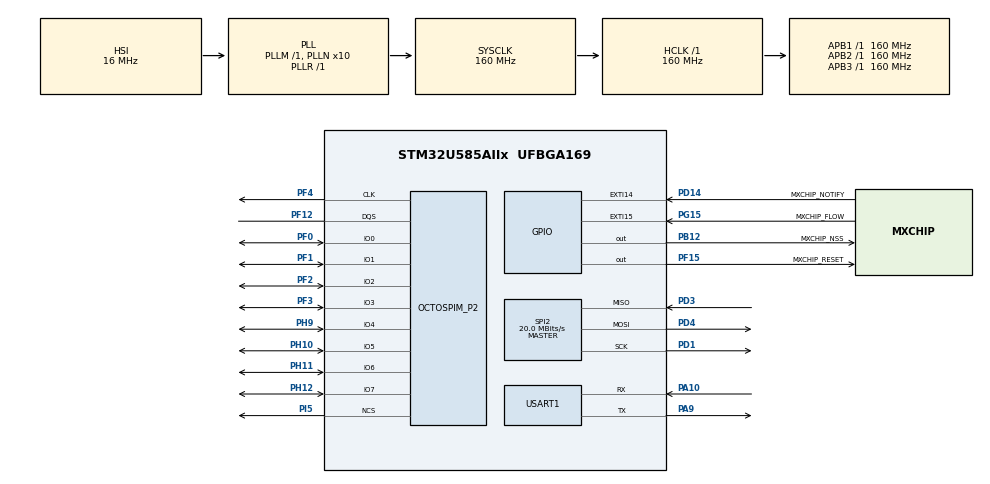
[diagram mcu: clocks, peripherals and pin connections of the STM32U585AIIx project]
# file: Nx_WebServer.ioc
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CORTEX_M33_NS.userName=CORTEX_M33
FILEX.FX_APP_MEM_POOL_SIZE=2*1024 
FILEX.FX_LX_NOR_INTERFACE=1
FILEX.useRTOS=1
GPDMA1.IPHANDLE_GPDMACH0-SIMPLEREQUEST_GPDMACH0=__NULL
GPDMA1.RECAP_GPDMACH0=GPDMA1_REQUEST_OCTOSPI2
GPDMA1.REQUEST_GPDMACH0=GPDMA1_REQUEST_OCTOSPI2
GPDMA1.SRCINC_GPDMACH0=DMA_SINC_INCREMENTED
LEVELX.GLUE_FUNCTIONS=DMA_API
LEVELX.LX_DRIVER_CALLS_OSPI_INIT=1
LEVELX.LX_DRIVER_ERASES_OSPI_AFTER_INIT=0
LEVELX.LX_NOR_Flash_Support=1
LEVELX.LX_OctoSPI_Memory_Interface=1
LEVELX.TRANSFER_NOTIFICATION=ThreadX_Semaphore
LevelX.BSP.number=1
LevelX0.BSP.STBoard=false
LevelX0.BSP.api=BSP_COMPONENT_DRIVER
LevelX0.BSP.component=MX25LM51245G
LevelX0.BSP.i2caddr=0
LevelX0.BSP.instance=MX25LM51245G
LevelX0.BSP.name=OSPI Component
LevelX0.BSP.semaphore=SEMA_MX25LM51245G
LevelX0.BSP.solution=MX25LM51245G
Mcu.Family=STM32U5
Mcu.Name=STM32U585AIIx
Mcu.Package=UFBGA169
NETXDUO.NX_APP_MEM_POOL_SIZE=100*1024
NETXDUO.NX_DRIVER_DEFERRED_PROCESSING=true
NETXDUO.NX_PHYSICAL_HEADER=44
NETXDUO.NX_WEB_HTTP_NO_FILEX=false
NVIC.EXTI14_IRQn=true\:5\:0\:true\:false\:true\:false\:false\:true\:true
NVIC.EXTI15_IRQn=true\:5\:0\:true\:false\:true\:false\:false\:true\:true
NVIC.GPDMA1_Channel0_IRQn=true\:0\:0\:false\:false\:true\:true\:false\:true\:true
NVIC.OCTOSPI2_IRQn=true\:0\:0\:false\:false\:true\:false\:true\:true\:true
NVIC.PriorityGroup=NVIC_PRIORITYGROUP_4
NVIC.TIM6_IRQn=true\:15\:0\:false\:false\:true\:false\:false\:true\:true
NVIC.TimeBase=TIM6_IRQn
NVIC.TimeBaseIP=TIM6
NVIC.USART1_IRQn=true\:5\:0\:true\:false\:true\:false\:false\:true\:true
OCTOSPI2.ChipSelectHighTime=2
OCTOSPI2.ClockPrescaler=4
OCTOSPI2.DelayBlockBypass=HAL_OSPI_DELAY_BLOCK_USED
OCTOSPI2.DelayHoldQuarterCycle=HAL_OSPI_DHQC_ENABLE
OCTOSPI2.DeviceSize=26
OCTOSPI2.FifoThreshold=4
OCTOSPI2.MemoryType=HAL_OSPI_MEMTYPE_MACRONIX
OCTOSPI2.PhaseSel=2
OCTOSPI2.Units=56
PA10.Mode=Asynchronous
PA10.Signal=USART1_RX
PA9.Mode=Asynchronous
PA9.Signal=USART1_TX
PB12.GPIO_Label=MXCHIP_NSS
PB12.GPIO_Speed=GPIO_SPEED_FREQ_HIGH
PB12.PinState=GPIO_PIN_SET
PB12.Signal=GPIO_Output
PD1.GPIO_Mode=GPIO_MODE_AF_PP
PD1.GPIO_PuPd=GPIO_NOPULL
PD1.GPIO_Speed=GPIO_SPEED_FREQ_LOW
PD1.Mode=Full_Duplex_Master
PD1.Signal=SPI2_SCK
PD14.GPIO_Label=MXCHIP_NOTIFY
PD14.Signal=GPXTI14
PD3.GPIO_Mode=GPIO_MODE_AF_PP
PD3.GPIO_PuPd=GPIO_NOPULL
PD3.GPIO_Speed=GPIO_SPEED_FREQ_LOW
PD3.Mode=Full_Duplex_Master
PD3.Signal=SPI2_MISO
PD4.GPIO_Mode=GPIO_MODE_AF_PP
PD4.GPIO_PuPd=GPIO_NOPULL
PD4.GPIO_Speed=GPIO_SPEED_FREQ_LOW
PD4.Mode=Full_Duplex_Master
PD4.Signal=SPI2_MOSI
PF0.Mode=OCTOSPI2_IOL_Port2L
PF0.Signal=OCTOSPIM_P2_IO0
PF1.Mode=OCTOSPI2_IOL_Port2L
PF1.Signal=OCTOSPIM_P2_IO1
PF12.GPIO_PuPd=GPIO_NOPULL
PF12.Mode=OCTOSPI2_Port2_DQS
PF12.Signal=OCTOSPIM_P2_DQS
PF15.GPIO_Label=MXCHIP_RESET
PF15.GPIO_Speed=GPIO_SPEED_FREQ_HIGH
PF15.Signal=GPIO_Output
PF2.Mode=OCTOSPI2_IOL_Port2L
PF2.Signal=OCTOSPIM_P2_IO2
PF3.Mode=OCTOSPI2_IOL_Port2L
PF3.Signal=OCTOSPIM_P2_IO3
PF4.Mode=O2_P2_CLK
PF4.Signal=OCTOSPIM_P2_CLK
PG15.GPIO_Label=MXCHIP_FLOW
PG15.Signal=GPXTI15
PH10.Mode=OCTOSPI2_IOH_Port2H
PH10.Signal=OCTOSPIM_P2_IO5
PH11.Mode=OCTOSPI2_IOH_Port2H
PH11.Signal=OCTOSPIM_P2_IO6
PH12.Mode=OCTOSPI2_IOH_Port2H
PH12.Signal=OCTOSPIM_P2_IO7
PH9.Mode=OCTOSPI2_IOH_Port2H
PH9.Signal=OCTOSPIM_P2_IO4
PI5.GPIO_PuPd=GPIO_NOPULL
PI5.Mode=OCTOSPI2_Port2_NCS
PI5.Signal=OCTOSPIM_P2_NCS
PWR.PowerMode=PWR_SMPS_SUPPLY
ProjectManager.HeapSize=0x200
ProjectManager.StackSize=0x400
ProjectManager.TargetToolchain=EWARM V8.32
RCC.ADCFreq_Value=16000000
RCC.AHBFreq_Value=160000000
RCC.APB1Freq_Value=160000000
RCC.APB1TimFreq_Value=160000000
RCC.APB2Freq_Value=160000000
RCC.APB2TimFreq_Value=160000000
RCC.APB3Freq_Value=160000000
RCC.CortexFreq_Value=160000000
RCC.DACCLockSelectionVirtual=RCC_DAC1CLKSOURCE_LSI
RCC.DACCLockSelectionVirtualString=RCC_DAC1CLKSOURCE_LSI
RCC.EPOD_VALUE=16000000
RCC.HCLKFreq_Value=160000000
RCC.HSE_VALUE=16000000
RCC.HSI48_VALUE=48000000
RCC.HSI_VALUE=16000000
RCC.LSE_VALUE=32768
RCC.LSIDIV_VALUE=32000
RCC.MSIClockRange=RCC_MSIRANGE_0
RCC.MSI_VALUE=48000000
RCC.PLL1R=1
RCC.PLLN=10
RCC.PLLSourceVirtual=RCC_PLLSOURCE_HSI
RCC.SPI2CLockSelection=RCC_SPI2CLKSOURCE_PCLK1
RCC.SYSCLKFreq_VALUE=160000000
RCC.SYSCLKSource=RCC_SYSCLKSOURCE_PLLCLK
RCC.USBFreq_Value=48000000
RCC.VCOOutputFreq_Value=160000000
SPI2.BaudRatePrescaler=SPI_BAUDRATEPRESCALER_8
SPI2.CalculateBaudRate=20.0 MBits/s
SPI2.DataSize=SPI_DATASIZE_8BIT
SPI2.Direction=SPI_DIRECTION_2LINES
SPI2.Mode=SPI_MODE_MASTER
SPI2.NSSPMode=SPI_NSS_PULSE_DISABLE
SPI2.VirtualType=VM_MASTER
THREADX.TX_THREAD_ENABLE_PERFORMANCE_INFO=1
USART1.VirtualMode-Asynchronous=VM_ASYNC
VP_DCACHE1_VS_DCACHE.Mode=DCACHE_Activate
VP_FILEX_VS_FileOoSystemJjFileXJjCore.Mode=FileX_Core
VP_FILEX_VS_LevelXOoNOROointerface.Mode=LevelX_NOR_interface
VP_GPDMA1_VS_GPDMACH0.Mode=SIMPLEREQUEST_GPDMACH0
VP_ICACHE_VS_ICACHE.Mode=DirectMappedCache
VP_LEVELX_VS_FileOoSystemJjLevelXJjNOR.Mode=LevelX_NOR_Flash_Support
VP_LEVELX_VS_OctoSPIOomemoryOointerface.Mode=OctoSPI_memory_interface
VP_LPBAMQUEUE_VS_QUEUE.Mode=QUEUEMODE
VP_LPBAM_VS_SIG1.Mode=SmartRun
VP_LPBAM_VS_SIG2.Mode=RunToSTOP2
VP_LPBAM_VS_SIG4.Mode=LPDMA1
VP_LPBAM_VS_SIGPW.Mode=LowPowerModeOFF
VP_LPBAM_VS_SIGPWOPT.Mode=ENABLE
VP_NETXDUO_VS_AddonsOoDHCP.Mode=Addons_DHCP_Client
VP_NETXDUO_VS_AddonsOoWebOoServer.Mode=Addons_Web_Server
VP_NETXDUO_VS_NXOoCore.Mode=NX_Core
VP_OCTOSPI2_VS_octo.Mode=octo_mode
VP_PWR_VS_DBSignals.Mode=DisableDeadBatterySignals
VP_PWR_VS_LPOM.Mode=PowerOptimisation
VP_PWR_VS_SECSignals.Mode=Security/Privilege
VP_SYS_VS_tim6.Mode=TIM6
VP_THREADX_VS_RTOSJjThreadXJjCoreJjDefault.Mode=Core_Default
VP_THREADX_VS_RTOSJjThreadXJjPerformance_InfoJjDefault.Mode=Performance_Default
board=B-U585I-IOT02A

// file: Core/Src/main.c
/* USER CODE BEGIN Header */
/**
  ******************************************************************************
  * @file           : main.c
  * @brief          : Main program body
  ******************************************************************************
  * @attention
  *
  * Copyright (c) 2021 STMicroelectronics.
  * All rights reserved.
  *
  * This software is licensed under terms that can be found in the LICENSE file
  * in the root directory of this software component.
  * If no LICENSE file comes with this software, it is provided AS-IS.
  *
  ******************************************************************************
  */
/* USER CODE END Header */
#include "main.h"
#include "app_threadx.h"

/* USER CODE BEGIN PTD */
#if defined ( __GNUC__) && !defined(__clang__)
/* With GCC, small printf (option LD Linker->Libraries->Small printf
   set to 'Yes') calls __io_putchar() */
#define PUTCHAR_PROTOTYPE int __io_putchar(int ch)
#else
#define PUTCHAR_PROTOTYPE int fputc(int ch, FILE *f)
#endif /* __GNUC__ */
/* USER CODE END PTD */

DCACHE_HandleTypeDef hdcache1;

OSPI_HandleTypeDef hospi2;
DMA_HandleTypeDef handle_GPDMA1_Channel0;

SPI_HandleTypeDef hspi2;

UART_HandleTypeDef huart1;

void SystemClock_Config(void);
static void SystemPower_Config(void);
static void MX_GPIO_Init(void);
static void MX_ICACHE_Init(void);
static void MX_SPI2_Init(void);
static void MX_USART1_UART_Init(void);
static void MX_DCACHE1_Init(void);
static void MX_GPDMA1_Init(void);

/* USER CODE BEGIN 0 */
void HAL_GPIO_EXTI_Rising_Callback(uint16_t GPIO_Pin)
{
  switch (GPIO_Pin)
  {
    case (GPIO_PIN_1):

      break;
#if MX_WIFI_USE_SPI == 1
    case (MXCHIP_FLOW_Pin):
      mxchip_WIFI_ISR(MXCHIP_FLOW_Pin);
      nx_driver_emw3080_interrupt();
      break;

    case (MXCHIP_NOTIFY_Pin):
      mxchip_WIFI_ISR(MXCHIP_NOTIFY_Pin);
      nx_driver_emw3080_interrupt();
      break;
#endif /* MX_WIFI_USE_SPI */

    default:
      break;
  }
}

void Success_Handler(void)
{
   BSP_LED_Off(LED_RED);
   while(1)
   {
     BSP_LED_Toggle(LED_GREEN);
     tx_thread_sleep(50);
   }
}
/* USER CODE END 0 */

int main(void)
{

  /* MCU Configuration--------------------------------------------------------*/

  /* Reset of all peripherals, Initializes the Flash interface and the Systick. */
  HAL_Init();

  /* Configure the system clock */
  SystemClock_Config();

  /* Configure the System Power */
  SystemPower_Config();

  /* USER CODE BEGIN SysInit */
  BSP_LED_Init(LED_GREEN);
  BSP_LED_Init(LED_RED);
  /* USER CODE END SysInit */

  /* Initialize all configured peripherals */
  MX_GPIO_Init();
  MX_ICACHE_Init();
  MX_SPI2_Init();
  MX_USART1_UART_Init();
  MX_DCACHE1_Init();
  MX_GPDMA1_Init();

  MX_ThreadX_Init();

  /* We should never get here as control is now taken by the scheduler */
  /* Infinite loop */
  while (1)
  {

  }
}

void SystemClock_Config(void)
{
  RCC_OscInitTypeDef RCC_OscInitStruct = {0};
  RCC_ClkInitTypeDef RCC_ClkInitStruct = {0};

  /** Configure the main internal regulator output voltage
  */
  if (HAL_PWREx_ControlVoltageScaling(PWR_REGULATOR_VOLTAGE_SCALE1) != HAL_OK)
  {
    Error_Handler();
  }

  /** Initializes the CPU, AHB and APB busses clocks
  */
  RCC_OscInitStruct.OscillatorType = RCC_OSCILLATORTYPE_HSI;
  RCC_OscInitStruct.HSIState = RCC_HSI_ON;
  RCC_OscInitStruct.HSICalibrationValue = RCC_HSICALIBRATION_DEFAULT;
  RCC_OscInitStruct.PLL.PLLState = RCC_PLL_ON;
  RCC_OscInitStruct.PLL.PLLSource = RCC_PLLSOURCE_HSI;
  RCC_OscInitStruct.PLL.PLLMBOOST = RCC_PLLMBOOST_DIV1;
  RCC_OscInitStruct.PLL.PLLM = 1;
  RCC_OscInitStruct.PLL.PLLN = 10;
  RCC_OscInitStruct.PLL.PLLP = 2;
  RCC_OscInitStruct.PLL.PLLQ = 2;
  RCC_OscInitStruct.PLL.PLLR = 1;
  RCC_OscInitStruct.PLL.PLLRGE = RCC_PLLVCIRANGE_1;
  RCC_OscInitStruct.PLL.PLLFRACN = 0;
  if (HAL_RCC_OscConfig(&RCC_OscInitStruct) != HAL_OK)
  {
    Error_Handler();
  }

  /** Initializes the CPU, AHB and APB busses clocks
  */
  RCC_ClkInitStruct.ClockType = RCC_CLOCKTYPE_HCLK|RCC_CLOCKTYPE_SYSCLK
                              |RCC_CLOCKTYPE_PCLK1|RCC_CLOCKTYPE_PCLK2
                              |RCC_CLOCKTYPE_PCLK3;
  RCC_ClkInitStruct.SYSCLKSource = RCC_SYSCLKSOURCE_PLLCLK;
  RCC_ClkInitStruct.AHBCLKDivider = RCC_SYSCLK_DIV1;
  RCC_ClkInitStruct.APB1CLKDivider = RCC_HCLK_DIV1;
  RCC_ClkInitStruct.APB2CLKDivider = RCC_HCLK_DIV1;
  RCC_ClkInitStruct.APB3CLKDivider = RCC_HCLK_DIV1;

  if (HAL_RCC_ClockConfig(&RCC_ClkInitStruct, FLASH_LATENCY_4) != HAL_OK)
  {
    Error_Handler();
  }
}

/**
  * @brief Power Configuration
  * @retval None
  */
static void SystemPower_Config(void)
{
  HAL_PWREx_EnableVddIO2();

  /*
   * Disable the internal Pull-Up in Dead Battery pins of UCPD peripheral
   */
  HAL_PWREx_DisableUCPDDeadBattery();

  /*
   * Switch to SMPS regulator instead of LDO
   */
  if (HAL_PWREx_ConfigSupply(PWR_SMPS_SUPPLY) != HAL_OK)
  {
    Error_Handler();
  }
}

static void MX_DCACHE1_Init(void)
{

  hdcache1.Instance = DCACHE1;
  hdcache1.Init.ReadBurstType = DCACHE_READ_BURST_WRAP;
  if (HAL_DCACHE_Init(&hdcache1) != HAL_OK)
  {
    Error_Handler();
  }

}

static void MX_GPDMA1_Init(void)
{

  /* Peripheral clock enable */
  __HAL_RCC_GPDMA1_CLK_ENABLE();

  /* GPDMA1 interrupt Init */
    HAL_NVIC_SetPriority(GPDMA1_Channel0_IRQn, 0, 0);
    HAL_NVIC_EnableIRQ(GPDMA1_Channel0_IRQn);

}

static void MX_ICACHE_Init(void)
{

  /** Enable instruction cache in 1-way (direct mapped cache)
  */
  if (HAL_ICACHE_ConfigAssociativityMode(ICACHE_1WAY) != HAL_OK)
  {
    Error_Handler();
  }
  if (HAL_ICACHE_Enable() != HAL_OK)
  {
    Error_Handler();
  }

}

void MX_OCTOSPI2_Init(void)
{

  OSPIM_CfgTypeDef sOspiManagerCfg = {0};
  HAL_OSPI_DLYB_CfgTypeDef HAL_OSPI_DLYB_Cfg_Struct = {0};

  /* OCTOSPI2 parameter configuration*/
  hospi2.Instance = OCTOSPI2;
  hospi2.Init.FifoThreshold = 4;
  hospi2.Init.DualQuad = HAL_OSPI_DUALQUAD_DISABLE;
  hospi2.Init.MemoryType = HAL_OSPI_MEMTYPE_MACRONIX;
  hospi2.Init.DeviceSize = 26;
  hospi2.Init.ChipSelectHighTime = 2;
  hospi2.Init.FreeRunningClock = HAL_OSPI_FREERUNCLK_DISABLE;
  hospi2.Init.ClockMode = HAL_OSPI_CLOCK_MODE_0;
  hospi2.Init.WrapSize = HAL_OSPI_WRAP_NOT_SUPPORTED;
  hospi2.Init.ClockPrescaler = 4;
  hospi2.Init.SampleShifting = HAL_OSPI_SAMPLE_SHIFTING_NONE;
  hospi2.Init.DelayHoldQuarterCycle = HAL_OSPI_DHQC_ENABLE;
  hospi2.Init.ChipSelectBoundary = 0;
  hospi2.Init.DelayBlockBypass = HAL_OSPI_DELAY_BLOCK_USED;
  hospi2.Init.MaxTran = 0;
  hospi2.Init.Refresh = 0;
  if (HAL_OSPI_Init(&hospi2) != HAL_OK)
  {
    Error_Handler();
  }
  sOspiManagerCfg.ClkPort = 2;
  sOspiManagerCfg.DQSPort = 2;
  sOspiManagerCfg.NCSPort = 2;
  sOspiManagerCfg.IOLowPort = HAL_OSPIM_IOPORT_2_LOW;
  sOspiManagerCfg.IOHighPort = HAL_OSPIM_IOPORT_2_HIGH;
  if (HAL_OSPIM_Config(&hospi2, &sOspiManagerCfg, HAL_OSPI_TIMEOUT_DEFAULT_VALUE) != HAL_OK)
  {
    Error_Handler();
  }
  HAL_OSPI_DLYB_Cfg_Struct.Units = 56;
  HAL_OSPI_DLYB_Cfg_Struct.PhaseSel = 2;
  if (HAL_OSPI_DLYB_SetConfig(&hospi2, &HAL_OSPI_DLYB_Cfg_Struct) != HAL_OK)
  {
    Error_Handler();
  }

}

static void MX_SPI2_Init(void)
{

  SPI_AutonomousModeConfTypeDef HAL_SPI_AutonomousMode_Cfg_Struct = {0};

  /* SPI2 parameter configuration*/
  hspi2.Instance = SPI2;
  hspi2.Init.Mode = SPI_MODE_MASTER;
  hspi2.Init.Direction = SPI_DIRECTION_2LINES;
  hspi2.Init.DataSize = SPI_DATASIZE_8BIT;
  hspi2.Init.CLKPolarity = SPI_POLARITY_LOW;
  hspi2.Init.CLKPhase = SPI_PHASE_1EDGE;
  hspi2.Init.NSS = SPI_NSS_SOFT;
  hspi2.Init.BaudRatePrescaler = SPI_BAUDRATEPRESCALER_8;
  hspi2.Init.FirstBit = SPI_FIRSTBIT_MSB;
  hspi2.Init.TIMode = SPI_TIMODE_DISABLE;
  hspi2.Init.CRCCalculation = SPI_CRCCALCULATION_DISABLE;
  hspi2.Init.CRCPolynomial = 0x7;
  hspi2.Init.NSSPMode = SPI_NSS_PULSE_DISABLE;
  hspi2.Init.NSSPolarity = SPI_NSS_POLARITY_LOW;
  hspi2.Init.FifoThreshold = SPI_FIFO_THRESHOLD_01DATA;
  hspi2.Init.MasterSSIdleness = SPI_MASTER_SS_IDLENESS_00CYCLE;
  hspi2.Init.MasterInterDataIdleness = SPI_MASTER_INTERDATA_IDLENESS_00CYCLE;
  hspi2.Init.MasterReceiverAutoSusp = SPI_MASTER_RX_AUTOSUSP_DISABLE;
  hspi2.Init.MasterKeepIOState = SPI_MASTER_KEEP_IO_STATE_DISABLE;
  hspi2.Init.IOSwap = SPI_IO_SWAP_DISABLE;
  hspi2.Init.ReadyMasterManagement = SPI_RDY_MASTER_MANAGEMENT_INTERNALLY;
  hspi2.Init.ReadyPolarity = SPI_RDY_POLARITY_HIGH;
  if (HAL_SPI_Init(&hspi2) != HAL_OK)
  {
    Error_Handler();
  }
  HAL_SPI_AutonomousMode_Cfg_Struct.TriggerState = SPI_AUTO_MODE_DISABLE;
  HAL_SPI_AutonomousMode_Cfg_Struct.TriggerSelection = SPI_GRP1_GPDMA_CH0_TCF_TRG;
  HAL_SPI_AutonomousMode_Cfg_Struct.TriggerPolarity = SPI_TRIG_POLARITY_RISING;
  if (HAL_SPIEx_SetConfigAutonomousMode(&hspi2, &HAL_SPI_AutonomousMode_Cfg_Struct) != HAL_OK)
  {
    Error_Handler();
  }
  /* USER CODE BEGIN SPI2_Init 2 */
    SPI2->CFG1 |= 0x00000007 << SPI_CFG1_CRCSIZE_Pos;
  /* USER CODE END SPI2_Init 2 */

}

static void MX_USART1_UART_Init(void)
{

  huart1.Instance = USART1;
  huart1.Init.BaudRate = 115200;
  huart1.Init.WordLength = UART_WORDLENGTH_8B;
  huart1.Init.StopBits = UART_STOPBITS_1;
  huart1.Init.Parity = UART_PARITY_NONE;
  huart1.Init.Mode = UART_MODE_TX_RX;
  huart1.Init.HwFlowCtl = UART_HWCONTROL_NONE;
  huart1.Init.OverSampling = UART_OVERSAMPLING_16;
  huart1.Init.OneBitSampling = UART_ONE_BIT_SAMPLE_DISABLE;
  huart1.Init.ClockPrescaler = UART_PRESCALER_DIV1;
  huart1.AdvancedInit.AdvFeatureInit = UART_ADVFEATURE_NO_INIT;
  if (HAL_UART_Init(&huart1) != HAL_OK)
  {
    Error_Handler();
  }
  if (HAL_UARTEx_SetTxFifoThreshold(&huart1, UART_TXFIFO_THRESHOLD_1_8) != HAL_OK)
  {
    Error_Handler();
  }
  if (HAL_UARTEx_SetRxFifoThreshold(&huart1, UART_RXFIFO_THRESHOLD_1_8) != HAL_OK)
  {
    Error_Handler();
  }
  if (HAL_UARTEx_DisableFifoMode(&huart1) != HAL_OK)
  {
    Error_Handler();
  }

}

static void MX_GPIO_Init(void)
{
  GPIO_InitTypeDef GPIO_InitStruct = {0};

  /* GPIO Ports Clock Enable */
  __HAL_RCC_GPIOG_CLK_ENABLE();
  __HAL_RCC_GPIOI_CLK_ENABLE();
  __HAL_RCC_GPIOH_CLK_ENABLE();
  __HAL_RCC_GPIOD_CLK_ENABLE();
  __HAL_RCC_GPIOF_CLK_ENABLE();
  __HAL_RCC_GPIOA_CLK_ENABLE();
  __HAL_RCC_GPIOB_CLK_ENABLE();

  /*Configure GPIO pin Output Level */
  HAL_GPIO_WritePin(MXCHIP_NSS_GPIO_Port, MXCHIP_NSS_Pin, GPIO_PIN_SET);

  /*Configure GPIO pin Output Level */
  HAL_GPIO_WritePin(MXCHIP_RESET_GPIO_Port, MXCHIP_RESET_Pin, GPIO_PIN_RESET);

  /*Configure GPIO pin : MXCHIP_FLOW_Pin */
  GPIO_InitStruct.Pin = MXCHIP_FLOW_Pin;
  GPIO_InitStruct.Mode = GPIO_MODE_IT_RISING;
  GPIO_InitStruct.Pull = GPIO_NOPULL;
  HAL_GPIO_Init(MXCHIP_FLOW_GPIO_Port, &GPIO_InitStruct);

  /*Configure GPIO pin : MXCHIP_NOTIFY_Pin */
  GPIO_InitStruct.Pin = MXCHIP_NOTIFY_Pin;
  GPIO_InitStruct.Mode = GPIO_MODE_IT_RISING;
  GPIO_InitStruct.Pull = GPIO_NOPULL;
  HAL_GPIO_Init(MXCHIP_NOTIFY_GPIO_Port, &GPIO_InitStruct);

  /*Configure GPIO pin : MXCHIP_NSS_Pin */
  GPIO_InitStruct.Pin = MXCHIP_NSS_Pin;
  GPIO_InitStruct.Mode = GPIO_MODE_OUTPUT_PP;
  GPIO_InitStruct.Pull = GPIO_NOPULL;
  GPIO_InitStruct.Speed = GPIO_SPEED_FREQ_HIGH;
  HAL_GPIO_Init(MXCHIP_NSS_GPIO_Port, &GPIO_InitStruct);

  /*Configure GPIO pin : MXCHIP_RESET_Pin */
  GPIO_InitStruct.Pin = MXCHIP_RESET_Pin;
  GPIO_InitStruct.Mode = GPIO_MODE_OUTPUT_PP;
  GPIO_InitStruct.Pull = GPIO_NOPULL;
  GPIO_InitStruct.Speed = GPIO_SPEED_FREQ_HIGH;
  HAL_GPIO_Init(MXCHIP_RESET_GPIO_Port, &GPIO_InitStruct);

  /* EXTI interrupt init*/
  HAL_NVIC_SetPriority(EXTI14_IRQn, 5, 0);
  HAL_NVIC_EnableIRQ(EXTI14_IRQn);

  HAL_NVIC_SetPriority(EXTI15_IRQn, 5, 0);
  HAL_NVIC_EnableIRQ(EXTI15_IRQn);

}

/* USER CODE BEGIN 4 */
/**
  * @brief  Retargets the C library printf function to the USART.
  * @param  None
  * @retval None
  */
PUTCHAR_PROTOTYPE
{
  /* Place your implementation of fputc here */
  /* e.g. write a character to the USART1 and Loop until the end of transmission */
  HAL_UART_Transmit(&huart1, (uint8_t *)&ch, 1, 0xFFFF);

  return ch;
}
/* USER CODE END 4 */

void HAL_TIM_PeriodElapsedCallback(TIM_HandleTypeDef *htim)
{
  if (htim->Instance == TIM6) {
    HAL_IncTick();
  }
}

void Error_Handler(void)
{
  /* USER CODE BEGIN Error_Handler_Debug */
   BSP_LED_Off(LED_GREEN);
   while(1)
   {
     BSP_LED_Toggle(LED_RED);
     tx_thread_sleep(20);
   }
  /* USER CODE END Error_Handler_Debug */
}
